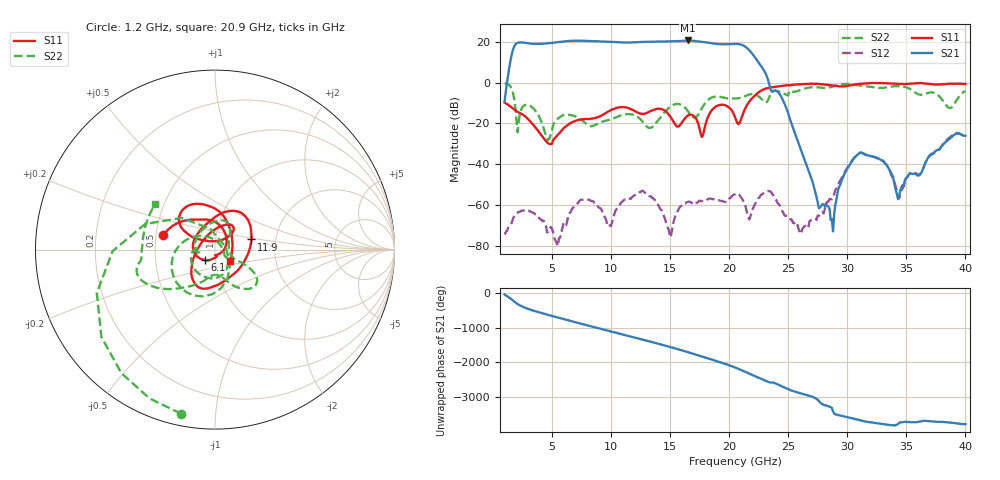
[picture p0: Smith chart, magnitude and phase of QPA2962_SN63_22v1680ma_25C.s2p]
!File name = QPA2962_SN63_22v1680ma_25C.s2p
!Base file name = QPA2962_SN63
!Date = 8/1/2020
!Time = 8:25 PM
!Test duration(min) = 0.48
!Test = S-Parameters
!MPTS version = 8.91.5
!State File = C:\data\QPA2962\20200608083801\State_Cal\SPARM\QPA2962_SPARM_3Temp_F1_40_p1_Pn20.sta
!Cal File =
!ComputerName = CMPE-LAB-12
!Comments = Ref_TRL_QPA2962_SAP293660
!Z0 = 50
!Input Power(dBm) = -20.00
!SN = 63
!Wafer = NA
!RC = NA
!CKT = NA
!VD = 22
!ID = 1680
!TEMP = 25
!COND = SPARM
!SWEEP = FRQ
!PULSE = CW
!set_Vg(v) = -3.500
!set_Vd(v) = 22.000
!set_Vd(mA) = 1680.000
!set_temp(c) = -28.0
!file_name = QPA2962_SN63_22v1680ma_25C.s2p
!date_code = 20200801
!Test condition label = 22v1680ma_25C
!Vg(V) = -1.872
!Vg(mA) = -0.010
!VD_DMM(V) = 21.996000
!ID_DMM(mA) = 1679.456000
!TEMP(V) = -0.015700
!Temp(C) = -26.70
# GHz  S  DB  R  50
!%	Freq(GHz)  s11(dB)  s11(deg)  s21(dB)  s21(deg)  s12(dB)  s12(deg)  s22(dB)  s22(deg)
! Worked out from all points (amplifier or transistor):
!   391 points, 1 GHz to 40 GHz, reference 50 ohm
!   highest |S21| = 20.6 dB at 16.5 GHz (marker M1)
!   |S21| within 3 dB of that: 1.808 GHz to 21.36 GHz (19.55 GHz wide, 169 % of centre)
!   unconditionally stable (mu >= 1): start of sweep to end of sweep
!   at 7.5 GHz: K = 33.51, MAG = 20.6 dB, |S12| = -57.3 dB
!   at 20.5 GHz: K = 25.01, MAG = 19.8 dB, |S12| = -54.6 dB
!   at 40 GHz: K = 18.33, MAG = -15.6 dB, |S12| = -26.2 dB
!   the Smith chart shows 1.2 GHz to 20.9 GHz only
!   S11 on the Smith chart (normalised r, x): 1.2 GHz: 0.55, +0.10; 6.1 GHz: 0.89, -0.10; 11.9 GHz: 1.50, +0.18; 20.9 GHz: 1.18, -0.15
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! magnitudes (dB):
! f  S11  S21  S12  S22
! 1 GHz  -9.8  -9.0  -74.4  -0.3
! 1.2 GHz  -10.5  0.0  -72.5  -0.6
! 2.1 GHz  -14.4  19.5  -63.6  -24.3
! 2.7 GHz  -16.3  19.5  -62.4  -11.0
! 4.7 GHz  -29.7  19.2  -72.6  -28.1
! 6.1 GHz  -21.8  20.2  -69.8  -15.8
! 7.5 GHz  -18.0  20.5  -57.3  -18.2
! 9.7 GHz  -14.4  20.1  -70.3  -18.5
! 11.9 GHz  -13.5  19.7  -55.5  -15.8
! 14 GHz  -12.8  20.1  -59.8  -18.5
! 15 GHz  -16.5  20.2  -75.7  -11.9
! 16.5 GHz  -16.2  20.6  -58.5  -13.9
! 20.5 GHz  -17.0  18.9  -54.6  -7.8
! 20.9 GHz  -19.6  18.7  -55.1  -7.5
! 24.4 GHz  -1.7  -6.8  -61.3  -4.8
! 27 GHz  -0.6  -47.5  -67.2  -2.3
! 28.8 GHz  -1.5  -72.8  -56.6  -1.9
! 29.3 GHz  -1.8  -51.1  -49.0  -1.1
! 30.6 GHz  -1.0  -36.8  -36.6  -1.0
! 33.5 GHz  -0.4  -41.9  -41.7  -2.2
! 34.4 GHz  -0.6  -55.2  -56.6  -1.7
! 40 GHz  -0.7  -26.1  -26.2  -4.1
